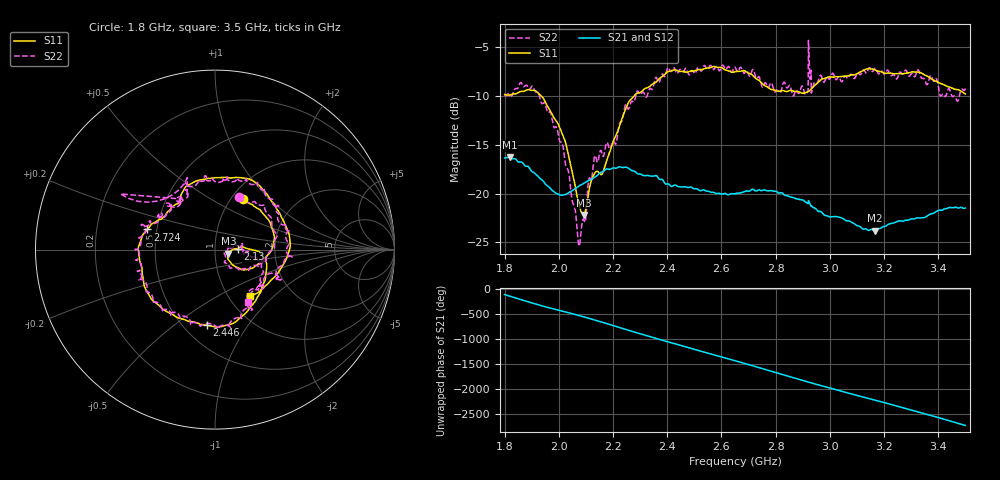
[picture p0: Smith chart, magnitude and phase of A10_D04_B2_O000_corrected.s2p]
! Created with skrf 1.9.0 (http://scikit-rf.org).
# Hz S RI R 50.0
!freq ReS11 ImS11 ReS21 ImS21 ReS12 ImS12 ReS22 ImS22
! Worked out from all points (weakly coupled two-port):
!   1601 points, 1.8 GHz to 3.5 GHz, reference 50 ohm
!   highest |S21| = -16.26 dB at 1.818 GHz (marker M1); lowest = -23.8 dB at 3.165 GHz (marker M2)
!   lowest |S11| = -22.2 dB at 2.091 GHz (marker M3), VSWR 1.17, Z = 58 - j2.68 ohm
!   |S11| at or under -10 dB: 1.936 GHz to 2.277 GHz (340.6 MHz wide, 16.2 % of centre)
!   |S22| runs from -25.4 to -4.3 dB; largest |S21 - S12| = 0.0025
!   S11 on the Smith chart (normalised r, x): 1.8 GHz: 1.12, +0.71; 2.13 GHz: 1.29, +0.00; 2.446 GHz: 0.65, -0.66; 2.724 GHz: 0.44, +0.12; 3.5 GHz: 1.26, -0.73
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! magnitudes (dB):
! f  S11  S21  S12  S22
! 1.8 GHz  -9.8  -16.3  -16.3  -9.9
! 1.818 GHz  -9.9  -16.3  -16.3  -9.8
! 1.903 GHz  -9.4  -17.7  -17.7  -9.0
! 1.968 GHz  -11.5  -19.4  -19.5  -11.6
! 2.015 GHz  -14.0  -20.1  -20.2  -15.0
! 2.072 GHz  -20.9  -19.3  -19.3  -25.0
! 2.084 GHz  -21.9  -19.1  -19.0  -23.4
! 2.091 GHz  -22.2  -18.9  -19.0  -22.6
! 2.13 GHz  -18.0  -18.3  -18.3  -16.3
! 2.163 GHz  -17.8  -17.7  -17.7  -16.2
! 2.26 GHz  -10.5  -17.5  -17.5  -11.2
! 2.367 GHz  -8.3  -18.4  -18.3  -8.6
! 2.446 GHz  -7.5  -19.3  -19.3  -7.3
! 2.65 GHz  -7.5  -20.0  -20.0  -7.0
! 2.724 GHz  -8.1  -19.7  -19.7  -7.9
! 2.809 GHz  -9.5  -19.9  -19.8  -9.5
! 2.934 GHz  -9.2  -21.3  -21.3  -9.5
! 3.165 GHz  -7.3  -23.8  -23.8  -7.2
! 3.217 GHz  -7.6  -23.1  -23.1  -7.5
! 3.326 GHz  -7.5  -22.5  -22.4  -7.3
! 3.468 GHz  -9.3  -21.4  -21.4  -10.4
! 3.5 GHz  -9.8  -21.5  -21.4  -9.2
